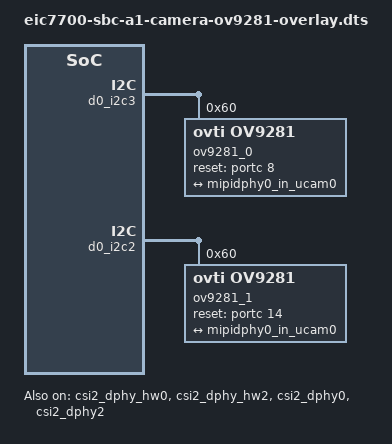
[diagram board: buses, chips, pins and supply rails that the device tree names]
/dts-v1/;
/plugin/;

/ {
	fragment@0 {
		target =  <&vi_subsys>;
		__overlay__ {
			phy_mode = <5>;
		};
	};

	fragment@1 {
		target =  <&imx219_0>;
		__overlay__ { 
			status = "disabled";
		};
	};

	fragment@2 {
		target =  <&imx219_1>;
		__overlay__ { 
			status = "disabled";
		};
	};

	fragment@3 {
		target = <&mipi_csi2_0>;
		__overlay__ {
			num_lanes = <2>;
		};
	};

	fragment@4 {
		target = <&mipi_csi2_2>;
		__overlay__ {
			num_lanes = <2>;
		};
	};

	fragment@5 {
		target = <&csi2_dphy_hw0>;
		__overlay__ {
			lanes = <1 2>;
			lanes-dp-dn = <0 0>; 
			status = "okay";
		};
	};

	fragment@6 {
		target = <&csi2_dphy_hw2>;
		__overlay__ {
			lanes = <1 2>;
			lanes-dp-dn = <0 0>; 
			status = "okay";
		};
	};

	fragment@7 {
		target = <&mipidphy0_in_ucam0>;
		__overlay__ {
			remote-endpoint = <&ov9281_out0>;
			data-lanes = <1 2>;
		};
	};

	fragment@8 {
		target = <&mipidphy2_in_ucam0>;
		__overlay__ {
			remote-endpoint = <&ov9281_out1>;
			data-lanes = <1 2>;
		};
	};

	fragment@9 {
		target = <&csi2_dphy0>;
		__overlay__ {
			status = "okay";
		};
	};

	fragment@10 {
		target = <&csi2_dphy2>;
		__overlay__ {
			status = "okay";
		};
	};

	fragment@11 {
		target =  <&d0_i2c3>;
		__overlay__ {
			#address-cells = <1>;
			#size-cells = <0>;
			ov9281_0: ov9281_0@60 {
				compatible = "ovti,ov9281";
				status = "okay";
				address-cells = <1>;
				size-cells = <0>;
				reg = <0x60>;
				clocks = <&d0_clock 0x244>;
				assigned-clocks = <&d0_clock 0x244>;
				assigned-clock-rates = <24000000>;
				clock-names = "xclk";
				pinctrl-names = "default";
				pinctrl-0 = <&pinctrl_gpio72_default>;
				reset-gpio = <&portc 8 0>;

				port {
					ov9281_out0: endpoint {
						remote-endpoint = <&mipidphy0_in_ucam0>;
						data-lanes = <1 2>;
						link-frequencies = /bits/ 64 <400000000>;
					};
				};
			};
		};
	};

	fragment@12 {
		target =  <&d0_i2c2>;
		__overlay__ {
			#address-cells = <1>;
			#size-cells = <0>;
			ov9281_1: ov9281_1@60 {
				compatible = "ovti,ov9281";
				status = "okay";
				address-cells = <1>;
				size-cells = <0>;
				reg = <0x60>;
				clocks = <&d0_clock 0x244>;
				assigned-clocks = <&d0_clock 0x244>;
				assigned-clock-rates = <24000000>;
				clock-names = "xclk";
				pinctrl-names = "default";
				pinctrl-0 = <&pinctrl_gpio78_default>;
				reset-gpio = <&portc 14 0>;

				port {
					ov9281_out1: endpoint {
						remote-endpoint = <&mipidphy0_in_ucam0>;
						data-lanes = <1 2>;
						link-frequencies = /bits/ 64 <400000000>;
					};
				};
			};
		};
	};
};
